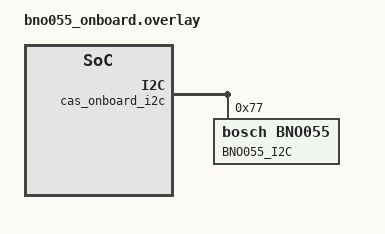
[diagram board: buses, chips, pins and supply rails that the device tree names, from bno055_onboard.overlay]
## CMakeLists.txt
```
# SPDX-License-Identifier: Apache-2.0

cmake_minimum_required(VERSION 3.20.0)

list(APPEND BOARD_ROOT ${CMAKE_CURRENT_SOURCE_DIR}/../../cas-zephyr-drivers/zephyr)
list(APPEND SOC_ROOT ${CMAKE_CURRENT_SOURCE_DIR}/../../cas-zephyr-drivers/zephyr)
list(APPEND DTS_ROOT ${CMAKE_CURRENT_SOURCE_DIR}/../../cas-zephyr-drivers/zephyr)
list(APPEND ZEPHYR_EXTRA_MODULES ${CMAKE_CURRENT_SOURCE_DIR}/../../cas-zephyr-drivers/zephyr/drivers/BNO055_driver)

# list(APPEND ZEPHYR_EXTRA_MODULES ${CMAKE_CURRENT_SOURCE_DIR}/../../cas-zephyr-drivers/zephyr/drivers/blah)

find_package(Zephyr REQUIRED HINTS $ENV{ZEPHYR_BASE})
project(bno055)

target_sources(app PRIVATE src/main.c)
```

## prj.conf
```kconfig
CONFIG_GPIO=y
CONFIG_BNO055_driver=y
```

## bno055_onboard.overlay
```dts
&cas_onboard_i2c {
	status = "okay";
	bno055@77 {
		compatible = "bosch,bno055";
		reg = <0x77>;
		label = "BNO055_I2C";
	};
};		
```

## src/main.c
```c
/*
 * Copyright (c) 2016 Intel Corporation
 *
 * SPDX-License-Identifier: Apache-2.0
 */

#include <zephyr.h>
#include <device.h>
#include <devicetree.h>
#include <drivers/sensor.h>

#define BNO055_I2C_BUS_WRITE_ARRAY_INDEX ((u8)1)
#define I2C_BUFFER_LEN 8
#define I2C0           5

s8 BNO055_I2C_bus_read(u8 dev_addr, u8 reg_addr, u8 *reg_data, u8 cnt) {

    s32 BNO055_iERROR = BNO055_INIT_VALUE;
    u8 array[I2C_BUFFER_LEN] = { BNO055_INIT_VALUE };
    u8 stringpos = BNO055_INIT_VALUE;

    array[BNO055_INIT_VALUE] = reg_addr;

    for (stringpos = BNO055_INIT_VALUE; stringpos < cnt; stringpos++) {
        *(reg_data + stringpos) = array[stringpos];
    }

    return (s8)BNO055_iERROR;

}

s8 BNO055_I2C_bus_write(u8 dev_addr, u8 reg_addr, u8 *reg_data, u8 cnt) {
	
	s32 BNO055_iERROR = BNO055_INIT_VALUE;
    u8 array[I2C_BUFFER_LEN];
    u8 stringpos = BNO055_INIT_VALUE;

    array[BNO055_INIT_VALUE] = reg_addr;
    for (stringpos = BNO055_INIT_VALUE; stringpos < cnt; stringpos++) {
        array[stringpos + BNO055_I2C_BUS_WRITE_ARRAY_INDEX] = *(reg_data + stringpos);
    }

}

s8 I2C_routine(void) {

    bno055.bus_write = BNO055_I2C_bus_write;
    bno055.bus_read = BNO055_I2C_bus_read;
    bno055.delay_msec = BNO055_delay_msek;
    bno055.dev_addr = BNO055_I2C_ADDR1;
    return BNO055_INIT_VALUE;
}

void main(void) {

	// Define starting values

    struct bno055_t bno055;

    s32 comres = BNO055_ERROR;
    u8 power_mode = BNO055_INIT_VALUE;

    s16 gyro_datax = BNO055_INIT_VALUE;
    s16 gyro_datay = BNO055_INIT_VALUE;
    s16 gyro_dataz = BNO055_INIT_VALUE;
    struct bno055_gyro_t gyro_xyz;

    double d_gyro_datax = BNO055_INIT_VALUE;
    double d_gyro_datay = BNO055_INIT_VALUE;
    double d_gyro_dataz = BNO055_INIT_VALUE;
    struct bno055_gyro_double_t d_gyro_xyz;

    // Initialize the BNO055 device

    I2C_routine();

    comres = bno055_init(&bno055);
    power_mode = BNO055_POWER_MODE_NORMAL;
    comres += bno055_set_power_mode(power_mode);

    // Read the raw sensor data

    comres += bno055_set_operation_mode(BNO055_OPERATION_MODE_GYRONLY);

    comres += bno055_read_gyro_x(&gyro_datax);
    comres += bno055_read_gyro_y(&gyro_datay);
    comres += bno055_read_gyro_z(&gyro_dataz);
    comres += bno055_read_gyro_xyz(&gyro_xyz);

    // Read the converted sensor data

    comres += bno055_convert_double_gyro_x_dps(&d_gyro_datax);
    comres += bno055_convert_double_gyro_y_dps(&d_gyro_datay);
    comres += bno055_convert_double_gyro_z_dps(&d_gyro_dataz);
    comres += bno055_convert_double_gyro_x_rps(&d_gyro_datax);
    comres += bno055_convert_double_gyro_y_rps(&d_gyro_datay);
    comres += bno055_convert_double_gyro_z_rps(&d_gyro_dataz);
    comres += bno055_convert_double_gyro_xyz_dps(&d_gyro_xyz);
    comres += bno055_convert_double_gyro_xyz_rps(&d_gyro_xyz);

    // De-Initialize the DNO055 device

    power_mode = BNO055_POWER_MODE_SUSPEND;
    comres += bno055_set_power_mode(power_mode);

    // 



}
```
